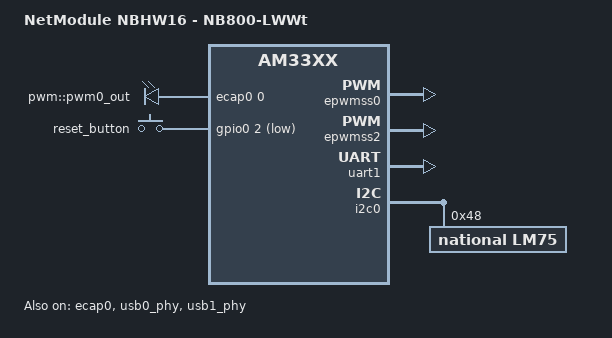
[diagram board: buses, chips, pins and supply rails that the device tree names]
/*
 * Copyright (C) 2012 Texas Instruments Incorporated - http://www.ti.com/
 *
 * This program is free software; you can redistribute it and/or modify
 * it under the terms of the GNU General Public License version 2 as
 * published by the Free Software Foundation.
 */
/dts-v1/;

#include "am33xx.dtsi"
#include "am335x-nbhw-common.dtsi"

/ {
	model = "NetModule NBHW16 - NB800-LWWt";
	compatible = "ti,am335x-bone-black", "ti,am335x-bone", "ti,am33xx";

	netmodule-system-info {
		compatible = "netmodule,system-info";
		hardware-base = <16>;
	};

	pwmleds {
		compatible = "pwm-leds";

		dim_led {
			label = "pwm::pwm0_out";
			pwms = <&ecap0 0 1000000 0>;
			max-brightness = <255>;
		};
	};

};

&wlan_fixed {
	gpio = <&gpio3 10 0>;
};

&reset_button {
	gpios = <&gpio0 2 GPIO_ACTIVE_LOW>;
};

// Add a pwm on ecap0 so that something can be measured during bringup
&epwmss0 {
	status = "okay";
};

&ecap0 {
	status = "okay";
	pinctrl-names = "default";
	pinctrl-0 = <&ecap0_pins>;
};

// Don't touch the PWM, U-Boot does the configuration
&epwmss2 {
	status = "okay";

	ecap2: ecap@48304100 {
		status = "okay";
		pinctrl-names = "default";
		pinctrl-0 = <&ecap2_pins>;
	};

};

&cpsw_emac0 {
	dual_emac_res_vlan = <0>;
};

// V2 only has one mac
&cpsw_emac1 {
	status = "disabled";
};

&dcdc2 {
	status = "disabled";
};

&usb0_phy {
	pinctrl-names = "default";
	pinctrl-0 =  <&usb_host_pins>;
	status = "okay";
};

&usb1_phy {
	pinctrl-names = "default";
	pinctrl-0 =  <&usb_gsm_pins>;
	status = "okay";
};

&usb0 {
	status = "disabled";
};

&uart1 {
	pinctrl-names = "default";
	pinctrl-0 = <&uart1_pins>;

	status = "okay";
};

&wlcore {
	compatible = "ti,wl1837";
};

&i2c0 {
	lm75: lm75@49 {
		compatible = "national,lm75";
		reg = <0x48>;
	};
};

&am33xx_pinmux {
	pinctrl-names = "default";
	pinctrl-0 = <&clkout2_pin>;

	user_leds_s0: user_leds_s0 {
		pinctrl-single,pins = <
			0x38 ( PIN_OUTPUT | MUX_MODE7 ) /* (V13) gpmc_ad14.gpio1[14] */ /* LED_A */
			0x3c ( PIN_OUTPUT | MUX_MODE7 ) /* (U13) gpmc_ad15.gpio1[15] */ /* LED_B */
		>;
	};

	ecap0_pins: backlight_pins {
		pinctrl-single,pins = <
			0x164 ( PIN_OUTPUT | MUX_MODE0 ) /* eCAP0_in_PWM0_out.eCAP0_in_PWM0_out MODE0 */
		>;
	};

	usb_host_pins: usb_host_pins {
		pinctrl-single,pins = <
			0x21c ( PIN_INPUT_PULLDOWN | MUX_MODE0 ) /* (F16) USB0_DRVVBUS.USB0_DRVVBUS */
		>;
	};

	ecap2_pins: pwm_pins {
		pinctrl-single,pins = <
			0x19c ( PIN_OUTPUT | MUX_MODE4 ) /* MCASP0_AHCLKR.eCAP2_in_PWM2_out MODE4 */
		>;
	};

	user_buttons_s0: user_buttons_s0 {
		pinctrl-single,pins = <
			0x44 ( PIN_INPUT_PULLUP | MUX_MODE7 ) /* (A17) gpmc_a1.gpio0[2] */ /* BUTTON */
		>;
	};

	i2c0_pins: pinmux_i2c0_pins {
		pinctrl-single,pins = <
			0x18c ( PIN_INPUT_PULLUP | SLEWCTRL_SLOW | MUX_MODE0 ) /* (C16) I2C0_SCL.I2C0_SCL */
			0x188 ( PIN_INPUT_PULLUP | SLEWCTRL_SLOW | MUX_MODE0 ) /* (C17) I2C0_SDA.I2C0_SDA */
		>;
	};

	uart0_pins: pinmux_uart0_pins {
		pinctrl-single,pins = <
			0x170 ( PIN_INPUT_PULLUP | MUX_MODE0 ) /* (E15) uart0_rxd.uart0_rxd */
			0x174 ( PIN_OUTPUT_PULLUP | MUX_MODE0 ) /* (E16) uart0_txd.uart0_txd */
			0x168 ( PIN_OUTPUT_PULLUP | MUX_MODE0 ) /* (E18) uart0_ctsn.uart0_ctsn */
			0x16C ( PIN_OUTPUT_PULLUP | MUX_MODE0 ) /* (E17) uart0_rtsn.uart0_rtsn */
		>;
	};

	uart1_pins: pinmux_uart1_pins {
		pinctrl-single,pins = <
			0x180 ( PIN_INPUT_PULLUP | SLEWCTRL_SLOW | MUX_MODE0 ) /* (D16) uart1_rxd.uart1_rxd */
			0x184 ( PIN_OUTPUT_PULLUP | SLEWCTRL_SLOW | MUX_MODE0 ) /* (D15) uart1_txd.uart1_txd */
		>;
	};

	clkout2_pin: pinmux_clkout2_pin {
		pinctrl-single,pins = <
			0x1b4 ( PIN_OUTPUT | MUX_MODE3 ) /* (D14) xdma_event_intr1.clkout2 */ /* CLKOUT2 */
		>;
	};

	cpsw_default: cpsw_default {
		pinctrl-single,pins = <

			/* Slave 1 */
			0x10c ( PIN_INPUT_PULLDOWN | MUX_MODE1 ) /* (H17) gmii1_crs.rmii1_crs_dv */
			0x110 ( PIN_INPUT_PULLDOWN | MUX_MODE1 ) /* (J15) gmii1_rxer.rmii1_rxer */
			0x114 ( PIN_OUTPUT_PULLDOWN | MUX_MODE1 | SLEWCTRL_SLOW ) /* (J16) gmii1_txen.rmii1_txen */
			0x124 ( PIN_OUTPUT_PULLDOWN | MUX_MODE1 | SLEWCTRL_SLOW ) /* (K16) gmii1_txd1.rmii1_txd1 */
			0x128 ( PIN_OUTPUT_PULLDOWN | MUX_MODE1 | SLEWCTRL_SLOW ) /* (K17) gmii1_txd0.rmii1_txd0 */
			0x13c ( PIN_INPUT_PULLDOWN | MUX_MODE1 ) /* (L15) gmii1_rxd1.rmii1_rxd1 */
			0x140 ( PIN_INPUT_PULLDOWN | MUX_MODE1 ) /* (M16) gmii1_rxd0.rmii1_rxd0 */
			0x144 ( PIN_INPUT_PULLDOWN | MUX_MODE0 ) /* (H18) rmii1_refclk.rmii1_refclk */
			>;
	};

	davinci_mdio_default: davinci_mdio_default {
		pinctrl-single,pins = <
			/* MDIO */
			0x148 ( PIN_INPUT_PULLUP | SLEWCTRL_SLOW | MUX_MODE0 ) /* (M17) mdio_data.mdio_data */
			0x14c ( PIN_OUTPUT_PULLUP | SLEWCTRL_SLOW | MUX_MODE0 ) /* (M18) mdio_clk.mdio_clk */
		>;
	};

	davinci_mdio_sleep: davinci_mdio_sleep {
		pinctrl-single,pins = <
			/* MDIO reset value */
			0x148 (PIN_INPUT_PULLDOWN | MUX_MODE7)
			0x14c (PIN_INPUT_PULLDOWN | MUX_MODE7)
		>;
	};

	bt_uart_pins: bt_uart_pins {
		pinctrl-single,pins = <
			0xc4 ( PIN_INPUT_PULLUP | MUX_MODE4 ) /* (U2) lcd_data9.uart5_rxd */
			0xc0 ( PIN_OUTPUT_PULLDOWN | MUX_MODE4 ) /* (U1) lcd_data8.uart5_txd */
			0xd8 ( PIN_INPUT_PULLDOWN | MUX_MODE6 ) /* (V4) lcd_data14.uart5_ctsn */
			0xdc ( PIN_OUTPUT_PULLDOWN | MUX_MODE6 ) /* (T5) lcd_data15.uart5_rtsn */
		>;
	};

	sdio_wlan_pins: sdio_wlan_pins {
		pinctrl-single,pins = <
			0x100 ( PIN_INPUT | MUX_MODE0 | SLEWCTRL_SLOW ) /* (G17) mmc0_clk.mmc0_clk */
			0x104 ( PIN_INPUT | MUX_MODE0 | SLEWCTRL_SLOW ) /* (G18) mmc0_cmd.mmc0_cmd */
			0xfc ( PIN_INPUT | MUX_MODE0 | SLEWCTRL_SLOW ) /* (G16) mmc0_dat0.mmc0_dat0 */
			0xf8 ( PIN_INPUT | MUX_MODE0 | SLEWCTRL_SLOW ) /* (G15) mmc0_dat1.mmc0_dat1 */
			0xf4 ( PIN_INPUT | MUX_MODE0 | SLEWCTRL_SLOW ) /* (F18) mmc0_dat2.mmc0_dat2 */
			0xf0 ( PIN_INPUT | MUX_MODE0 | SLEWCTRL_SLOW ) /* (F17) mmc0_dat3.mmc0_dat3 */

			0x118 ( PIN_OUTPUT_PULLDOWN | MUX_MODE7 ) /* (J17) gmii1_rxdv.gpio3[4] */ /* BT_EN */
			0x12c ( PIN_INPUT| MUX_MODE7 ) /* (K18) gmii1_txclk.gpio3[9] */ /* WLAN_IRQ */
			0x130 ( PIN_OUTPUT_PULLUP | MUX_MODE7 ) /* (L18) gmii1_rxclk.gpio3[10] */ /* WLAN_EN */
		>;
	};

	emmc_pins: pinmux_emmc_pins {
		pinctrl-single,pins = <
			0x80 ( PIN_INPUT_PULLUP | MUX_MODE2 ) /* (U9) gpmc_csn1.mmc1_clk */
			0x84 ( PIN_INPUT_PULLUP | MUX_MODE2 ) /* (V9) gpmc_csn2.mmc1_cmd */
			0x0 ( PIN_INPUT_PULLUP | MUX_MODE1 ) /* (U7) gpmc_ad0.mmc1_dat0 */
			0x4 ( PIN_INPUT_PULLUP | MUX_MODE1 ) /* (V7) gpmc_ad1.mmc1_dat1 */
			0x8 ( PIN_INPUT_PULLUP | MUX_MODE1 ) /* (R8) gpmc_ad2.mmc1_dat2 */
			0xc ( PIN_INPUT_PULLUP | MUX_MODE1 ) /* (T8) gpmc_ad3.mmc1_dat3 */
			0x10 ( PIN_INPUT_PULLUP | MUX_MODE1 ) /* (U8) gpmc_ad4.mmc1_dat4 */
			0x14 ( PIN_INPUT_PULLUP | MUX_MODE1 ) /* (V8) gpmc_ad5.mmc1_dat5 */
			0x18 ( PIN_INPUT_PULLUP | MUX_MODE1 ) /* (R9) gpmc_ad6.mmc1_dat6 */
			0x1c ( PIN_INPUT_PULLUP | MUX_MODE1 ) /* (T9) gpmc_ad7.mmc1_dat7 */
		>;
	};

	pcm_pins: pcm_pins {
		pinctrl-single,pins = <
			0x190 ( PIN_INPUT_PULLUP | MUX_MODE0 ) /* (A13) mcasp0_aclkx.mcasp0_aclkx */
			0x194 ( PIN_INPUT_PULLUP | MUX_MODE0 ) /* (B13) mcasp0_fsx.mcasp0_fsx */
			0x1a0 ( PIN_INPUT_PULLUP | MUX_MODE0 ) /* (B12) mcasp0_aclkr.mcasp0_aclkr */
			0x1a4 ( PIN_INPUT_PULLUP | MUX_MODE0 ) /* (C13) mcasp0_fsr.mcasp0_fsr */
			0x198 ( PIN_OUTPUT_PULLUP | MUX_MODE0 ) /* (D12) mcasp0_axr0.mcasp0_axr0 */
			0x1a8 ( PIN_INPUT_PULLUP | MUX_MODE0 ) /* (D13) mcasp0_axr1.mcasp0_axr1 */
		>;
	};

	can_pins: can_pins {
		pinctrl-single,pins = <
			0x16c ( PIN_INPUT_PULLUP | MUX_MODE2 ) /* (E17) uart0_rtsn.dcan1_rx */
			0x168 ( PIN_OUTPUT_PULLUP | MUX_MODE2 ) /* (E18) uart0_ctsn.dcan1_tx */
		>;
	};

	usb_expansion_pins: usb_expansion_pins {
		pinctrl-single,pins = <
			0x21c ( PIN_INPUT_PULLDOWN | MUX_MODE0 ) /* (F16) USB0_DRVVBUS.USB0_DRVVBUS */
		>;
	};

	usb_gsm_pins: usb_gsm_pins {
		pinctrl-single,pins = <
			0x234 ( PIN_INPUT_PULLDOWN | MUX_MODE0 ) /* (F15) USB1_DRVVBUS.USB1_DRVVBUS */
		>;
	};

	user_spi_pins: user_spi_pins {
		pinctrl-single,pins = <
			0x150 ( PIN_INPUT_PULLUP | MUX_MODE0 ) /* (A17) spi0_sclk.spi0_sclk */
			0x154 ( PIN_INPUT_PULLUP | MUX_MODE0 ) /* (B17) spi0_d0.spi0_d0 */
			0x158 ( PIN_INPUT_PULLUP | MUX_MODE0 ) /* (B16) spi0_d1.spi0_d1 */
			0x15c ( PIN_OUTPUT_PULLUP | MUX_MODE0 ) /* (A16) spi0_cs0.spi0_cs0 */
		>;
	};

	myglue1_pins: myglue1_pins {
		pinctrl-single,pins = <
			0x1c0 ( PIN_INPUT | MUX_MODE0 ) /* (B18) nNMI.nNMI */ /* EXT_INT~*/
			0x1b0 ( PIN_OUTPUT | MUX_MODE3 ) /* (A15) xdma_event_intr0.clkout1 */ /* CLKOUT1 */
		>;
	};

	mydebugss1_pins: mydebugss1_pins {
		pinctrl-single,pins = <
			0x1d0 ( PIN_INPUT_PULLUP | MUX_MODE0 ) /* (C11) TMS.TMS */
			0x1d4 ( PIN_INPUT_PULLUP | MUX_MODE0 ) /* (B11) TDI.TDI */
			0x1d8 ( PIN_OUTPUT | MUX_MODE0 ) /* (A11) TDO.TDO */
			0x1dc ( PIN_INPUT_PULLUP | MUX_MODE0 ) /* (A12) TCK.TCK */
			0x1e0 ( PIN_INPUT_PULLUP | MUX_MODE0 ) /* (B10) nTRST.nTRST */
			0x1e4 ( PIN_INPUT_PULLUP | MUX_MODE0 ) /* (C14) EMU0.EMU0 */
			0x1e8 ( PIN_INPUT_PULLUP | MUX_MODE0 ) /* (B14) EMU1.EMU1 */
		>;
	};

};

